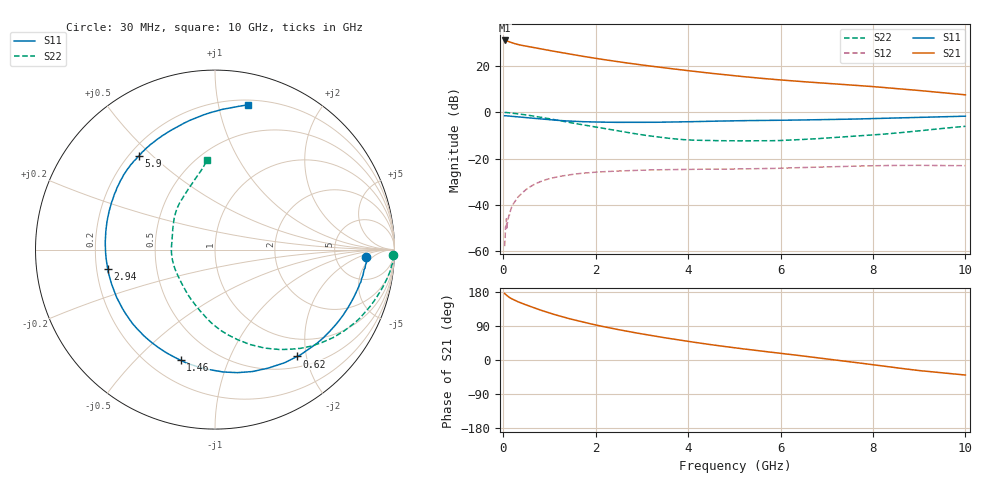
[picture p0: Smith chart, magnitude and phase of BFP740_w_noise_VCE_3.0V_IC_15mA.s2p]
! Infineon Technologies  Discrete & RF Semiconductors
! BFP740
! VCE =  3.0 V,  IC =  15 mA
! Common Emitter S-Parameters:  Jan 2016
# GHz  S  MA  R  50
!  f  S11  S21  S12  S22
! GHz  MAG  ANG  MAG  ANG  MAG  ANG  MAG  ANG
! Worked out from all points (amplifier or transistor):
!   229 points, 30 MHz to 10 GHz, reference 50 ohm
!   highest |S21| = 31.0 dB at 30 MHz (marker M1)
!   |S21| within 3 dB of that: start of sweep to 630 MHz
!   unconditionally stable (mu >= 1): 6.719 GHz to end of sweep
!   at 280 MHz: K = 0.20, MSG = 33.6 dB, |S12| = -37.7 dB
!   at 1.78 GHz: K = 0.39, MSG = 25.1 dB, |S12| = -26.2 dB
!   at 10 GHz: K = 1.04, MAG = 14.1 dB, |S12| = -23.0 dB
!   lowest NFmin = 0.59 dB at 450 MHz
!   S11 on the Smith chart (normalised r, x): 30 MHz: 11, -3; 620 MHz: 0.67, -1.84; 1.46 GHz: 0.32, -0.69; 2.94 GHz: 0.25, -0.08; 5.9 GHz: 0.24, +0.46; 10 GHz: 0.24, +1.22
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0.03  0.844 -2.9  35.51 175.5  0.0013 114.0  0.9903 -1.7
0.05  0.8463 -4.9  35.36 173.4  0.0034 73.0  0.993 -3.3
0.11  0.834 -10.7  33.84 167.1  0.0052 86.7  0.9822 -7.2
0.2  0.8182 -18.7  31.45 160.4  0.01 80.6  0.9583 -12.5
0.3  0.8018 -27.1  29.36 154.7  0.0141 74.5  0.9324 -17.7
0.4  0.7851 -35.3  27.9 149.7  0.0178 71.3  0.9052 -22.7
0.62  0.7511 -52.4  25.25 139.8  0.0262 62.4  0.8438 -33.1
0.8  0.7238 -65.9  23.51 132.0  0.0319 56.3  0.7891 -41.0
1  0.6968 -79.7  21.62 124.1  0.0372 50.0  0.7269 -49.2
1.22  0.6679 -93.7  19.73 115.9  0.0416 43.6  0.6614 -57.3
1.46  0.6454 -107.2  17.89 108.1  0.0453 38.2  0.5988 -65.0
1.7  0.6305 -119.9  16.32 100.8  0.0485 33.6  0.5425 -72.3
2.22  0.6133 -143.5  13.52 86.7  0.0526 25.3  0.4413 -87.5
2.56  0.6077 -156.6  12.06 78.6  0.0547 21.2  0.3866 -96.6
2.94  0.6074 -169.7  10.71 70.2  0.0563 17.1  0.3352 -107.4
3.4  0.6128 176.1  9.354 60.7  0.0578 13.2  0.2901 -122.1
4.3  0.6353 153.5  7.321 43.8  0.0594 6.7  0.2482 -152.8
5.1  0.6592 139.2  6.023 30.8  0.0602 3.2  0.2433 -175.1
5.9  0.6733 128.9  5.091 19.1  0.0619 0.7  0.2456 166.8
6.8  0.6931 117.9  4.358 6.0  0.0658 -2.9  0.2708 148.9
8.4  0.7528 95.0  3.335 -18.8  0.0715 -12.5  0.3497 118.8
10  0.8265 77.3  2.385 -39.7  0.0709 -21.1  0.4999 95.0
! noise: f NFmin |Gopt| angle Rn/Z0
0.45  0.59  0.08  4  0.17
0.9  0.6  0.07  10  0.17
1.5  0.62  0.07  23  0.16
1.9  0.64  0.07  39  0.16
2.4  0.67  0.07  47  0.15
3.5  0.78  0.06  54  0.14
5.5  0.94  0.15  229  0.13
10  1.33  0.49  -69  0.17
